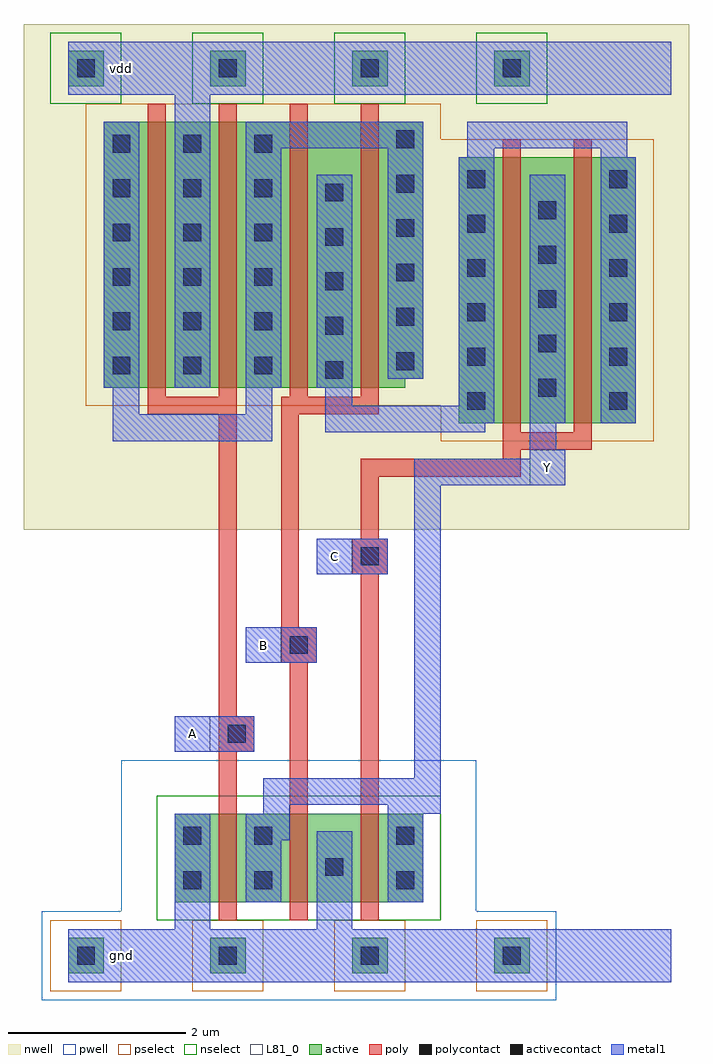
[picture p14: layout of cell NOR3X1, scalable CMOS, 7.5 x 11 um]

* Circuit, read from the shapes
.subckt NOR3X1 A B C Y gnd vdd
M1 Y A gnd gnd nfet w=1u l=0.2u
M2 gnd B Y gnd nfet w=1u l=0.2u
M3 Y C gnd gnd nfet w=1u l=0.2u
M4 vdd A n1 vdd pfet w=3u l=0.2u m=2
M5 n2 B n1 vdd pfet w=3u l=0.2u m=2
M6 Y C n2 vdd pfet w=3u l=0.2u m=2
.ends

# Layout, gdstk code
import gdstk
lib = gdstk.Library(unit=1e-6, precision=1e-09)
def R(c, l, rs):  # rectangles x0, y0, x1, y1
    for r in rs: c.add(gdstk.rectangle(r[:2], r[2:], *l))
def A(c, l, x, y, w, h, nx, ny, dx, dy):  # array of equal rectangles
    R(c, l, [(x+i*dx, y+j*dy, x+i*dx+w, y+j*dy+h) for i in range(nx) for j in range(ny)])
pwell = (41, 0)
nwell = (42, 0)
active = (43, 0)
pselect = (44, 0)
nselect = (45, 0)
poly = (46, 0)
polycontact = (47, 0)
activecontact = (48, 0)
metal1 = (49, 0)
L81_0 = (81, 0)

nor3x1 = lib.new_cell('NOR3X1')
R(nor3x1, pwell, [(-0.5,-0.5,5.3,0.5), (0.4,0.5,4.4,2.2)])
R(nor3x1, nwell, [(-0.7,4.8,6.8,10.5)])
A(nor3x1, active, -0.2, -0.2, 0.4, 0.4, 4, 2, 1.6, 10)
R(nor3x1, active, [(1,0.6,3.8,1.6), (4.2,6,6.2,9), (0.2,6.4,3.6,6.5), (0.2,6.5,3.8,9.4)])
A(nor3x1, pselect, -0.4, -0.4, 0.8, 0.8, 4, 1, 1.6, 0)
R(nor3x1, pselect, [(4,5.8,6.4,6.2), (0,6.2,6.4,9.2), (0,9.2,4,9.6)])
A(nor3x1, nselect, -0.4, 9.6, 0.8, 0.8, 4, 1, 1.6, 0)
R(nor3x1, nselect, [(0.8,0.4,4,1.8)])
A(nor3x1, poly, 0.7, 6.3, 0.2, 3.3, 4, 1, 0.8, 0)
R(nor3x1, poly, [(1.5,0.4,1.7,2.3), (2.3,0.4,2.5,3.3), (3.1,0.4,3.3,4.3), (1.5,2.3,1.9,2.7), (1.5,2.7,1.7,6.1), (2.2,3.3,2.6,3.7), (2.2,3.7,2.4,6.1), (3,4.3,3.4,4.7), (3.1,4.7,3.3,5.4), (3.1,5.4,4.9,5.6), (4.7,5.6,4.9,5.7), (4.7,5.7,5.7,5.9), (4.7,5.9,4.9,9.2), (5.5,5.9,5.7,9.2), (0.7,6.1,1.7,6.3), (2.2,6.1,3.3,6.3)])
R(nor3x1, polycontact, [(1.6,2.4,1.8,2.6), (2.3,3.4,2.5,3.6), (3.1,4.4,3.3,4.6)])
A(nor3x1, activecontact, -0.1, -0.1, 0.2, 0.2, 4, 2, 1.6, 10)
A(nor3x1, activecontact, 4.3, 6.15, 0.2, 0.2, 1, 6, 0, 0.5)
A(nor3x1, activecontact, 5.9, 6.15, 0.2, 0.2, 1, 6, 0, 0.5)
A(nor3x1, activecontact, 5.1, 6.3, 0.2, 0.2, 1, 5, 0, 0.5)
A(nor3x1, activecontact, 2.7, 6.5, 0.2, 0.2, 1, 5, 0, 0.5)
A(nor3x1, activecontact, 0.3, 6.55, 0.2, 0.2, 3, 6, 0.8, 0.5)
A(nor3x1, activecontact, 3.5, 6.6, 0.2, 0.2, 1, 6, 0, 0.5)
R(nor3x1, activecontact, [(1.1,0.75,1.3,0.95), (1.9,0.75,2.1,0.95), (3.5,0.75,3.7,0.95), (2.7,0.9,2.9,1.1), (1.1,1.25,1.3,1.45), (1.9,1.25,2.1,1.45), (3.5,1.25,3.7,1.45)])
R(nor3x1, metal1, [(-0.2,-0.3,6.6,0.3), (1,0.3,1.4,1.6), (2.6,0.3,3,1.4), (1.8,0.6,2.2,1.3), (3.4,0.6,3.8,1.6), (1.8,1.3,2.3,1.6), (2,1.6,2.3,1.7), (3.4,1.6,4,1.7), (2,1.7,4,2), (3.7,2,4,5.3), (1,2.3,1.9,2.7), (1.8,3.3,2.6,3.7), (2.6,4.3,3.4,4.7), (3.7,5.3,5.4,5.6), (5,5.6,5.4,5.7), (5,5.7,5.3,6), (0.3,5.8,2.1,6.1), (2.7,5.9,4.5,6), (2.7,6,4.6,6.2), (5,6,5.4,8.8), (5.8,6,6.2,9), (0.3,6.1,0.6,6.4), (1.8,6.1,2.1,6.4), (2.7,6.2,3,6.4), (4.2,6.2,4.6,9), (0.2,6.4,0.6,9.4), (1,6.4,1.4,9.7), (1.8,6.4,2.2,9.1), (2.6,6.4,3,8.8), (3.4,6.5,3.8,9.1), (4.3,9,4.6,9.1), (5.8,9,6.1,9.1), (1.8,9.1,3.8,9.4), (4.3,9.1,6.1,9.4), (-0.2,9.7,6.6,10.3)])
R(nor3x1, L81_0, [(1,2.3,1.4,2.7), (1.8,3.3,2.2,3.7), (2.6,4.3,3,4.7), (5,5.3,5.4,5.7)])
nor3x1.add(gdstk.Label('vdd', (0.4,10), layer=49, texttype=0))
nor3x1.add(gdstk.Label('gnd', (0.4,0), layer=49, texttype=0))
nor3x1.add(gdstk.Label('B', (2,3.5), layer=49, texttype=0))
nor3x1.add(gdstk.Label('C', (2.8,4.5), layer=49, texttype=0))
nor3x1.add(gdstk.Label('A', (1.2,2.5), layer=49, texttype=0))
nor3x1.add(gdstk.Label('Y', (5.2,5.5), layer=49, texttype=0))

lib.write_gds('NOR3X1.gds')
